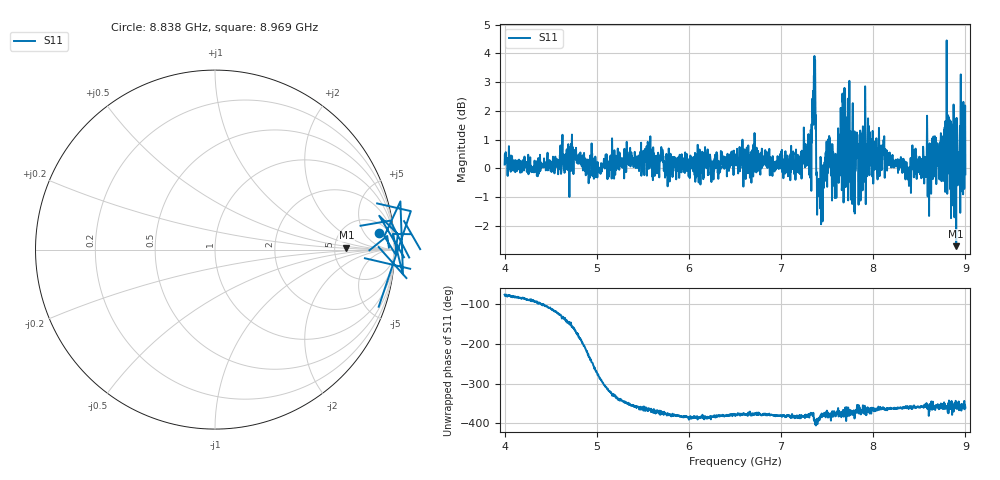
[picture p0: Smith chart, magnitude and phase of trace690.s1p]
! Created with skrf 1.8.0 (http://scikit-rf.org).
# Hz S RI R 50.0
!freq ReS11 ImS11
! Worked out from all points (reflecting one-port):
!   1601 points, 4 GHz to 9 GHz, reference 50 ohm
!   lowest |S11| = -2.7 dB at 8.9 GHz (marker M1), VSWR 6.46, Z = 322 + j14.4 ohm
!   phase of S11 starts at -75 deg and turns -286 deg over the sweep
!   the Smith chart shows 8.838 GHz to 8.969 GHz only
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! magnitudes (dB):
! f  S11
! 4 GHz  0.1
! 4.625 GHz  0.8
! 4.747 GHz  -0.2
! 5.019 GHz  0.0
! 5.25 GHz  0.2
! 5.875 GHz  -0.1
! 6.5 GHz  0.2
! 7.125 GHz  0.2
! 7.303 GHz  0.2
! 7.356 GHz  3.2
! 7.4 GHz  -1.0
! 7.412 GHz  -0.6
! 7.441 GHz  -0.1
! 7.512 GHz  1.0
! 7.588 GHz  -0.4
! 7.672 GHz  2.5
! 7.703 GHz  0.5
! 7.75 GHz  0.6
! 7.784 GHz  -0.3
! 7.938 GHz  0.6
! 8.375 GHz  -0.4
! 8.441 GHz  -0.3
! 8.612 GHz  0.9
! 8.809 GHz  1.1
! 8.856 GHz  -0.3
! 8.9 GHz  -2.7
! 8.972 GHz  0.6
! 9 GHz  -0.2
